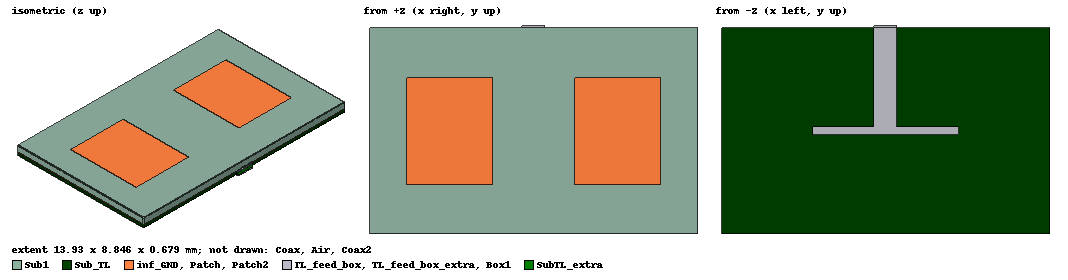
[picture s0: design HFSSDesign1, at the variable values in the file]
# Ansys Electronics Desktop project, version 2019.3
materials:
  vacuum: permittivity=1
  Rogers RT/duroid 5880 (tm): permittivity=2.2 dielectric_loss_tangent=0.0009
  pec: conductivity=1e+30
  Rogers RO4003 (tm): permittivity=3.55 dielectric_loss_tangent=0.0027

design HFSSDesign1 (HFSS, DrivenModal, model units mm)
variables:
  Lp = 3.64mm  # optimise 1.961496581mm..5.884489743mm
  Wp = 4.55mm  # optimise 2.538622579mm..7.615867737mm
  hs = 0.406mm
  Ws = Wp+6*hs+.88mm*2
  Ls = 6*hs+Lp*2+4.21mm
  xsub = -Ls/2
  ysub = -Ws/2
  xfeed = 1.2mm  # optimise 0.4620027115mm..1.3860081345mm
  dp = 3.5mm  # optimise 0.19101913mm..0.57305739mm
  rcoax = 0.16mm
  hcoax = 0.203mm
  rprope = 0.07mm
  Lair = 0.01+Ls
  Wair = 0.01+Ws
  xair = Lair/2
  yair = Wair/2
  hair = 5mm
  yfeed = 0mm
  xp = dp/2
  yp = -Wp/2
  hgnd = -0.032mm
  Xcoax = 2
  WTL_In = 0.673367mm
  LTL_feed = 2.179581mm
  WTL_feed = 0.976256mm
  hTL = 0.07mm
  LTL_extra = 0.1mm
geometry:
  Sub1 [Rogers RO4003 (tm)] = box(corner=(xsub, ysub, 0mm), size=(Ls, Ws, hs))
  Patch [Rogers RT/duroid 5880 (tm)] = rectangle(corner=(xp, yp, hs), x_size=Lp, y_size=Wp)
  Coax [vacuum] = cylinder(axis=Z, base_centre=(xp+xfeed, yfeed, 0mm), radius=rcoax, height=-hcoax)
  Coax_Pin [pec] = cylinder(axis=Z, base_centre=(xp+xfeed, yfeed, 0mm), radius=rprope, height=-hcoax)
  Prope [pec] = cylinder(axis=Z, base_centre=(xp+xfeed, yfeed, 0mm), radius=rprope, height=hs)
  Air [vacuum] = box(corner=(-xair, -yair, 0), size=(Lair, Wair, hair +0.3mm))
  Patch2 = rectangle(corner=(xp-Lp-dp, yp, hs), x_size=Lp, y_size=Wp)
  Coax2 [vacuum] = cylinder(axis=Z, base_centre=(-(xp+xfeed), yfeed, 0mm), radius=rcoax, height=-hcoax)
  Coax_Pin2 [pec] = cylinder(axis=Z, base_centre=(-(xp+xfeed), yfeed, 0mm), radius=rprope, height=-hcoax)
  Prope2 [pec] = cylinder(axis=Z, base_centre=(-(xp+xfeed), yfeed, 0mm), radius=rprope, height=hs)
  inf_GND [pec] = box(corner=(xsub, ysub, 0mm), size=(Ls, Ws, hgnd))
  Cylinder_cut_2 = cylinder(axis=Z, base_centre=(-(xp+xfeed), yfeed, 0), radius=rcoax, height=hgnd)
  Cylinder_cut_1 = cylinder(axis=Z, base_centre=(xp+xfeed, yfeed, 0), radius=rcoax, height=hgnd)
  inf_GND.subtract(Cylinder_cut_1)
  inf_GND.subtract(Cylinder_cut_2)
  Sub_TL [Rogers RO4003 (tm)] = box(corner=(xsub, ysub, 0mm), size=(Ls, Ws, -hcoax))
  TL_In_box = box(corner=(xfeed+xp+rcoax, yfeed -rcoax, -hcoax), size=(-2*(xfeed+xp+rcoax), Xcoax * rcoax, -hTL))
  TL_feed_box [pec] = box(corner=(-WTL_feed/2, yfeed -rcoax+Xcoax * rcoax, -hcoax), size=(WTL_feed, ysub+Ws-(yfeed -rcoax+Xcoax * rcoax), -hTL))
  TL_feed_box.unite(TL_In_box)
  SubTL_extra [Rogers RO4003 (tm)] = box(corner=(-WTL_feed/2, yfeed -rcoax+Xcoax * rcoax+(ysub+Ws-(yfeed -rcoax+Xcoax * rcoax)), -hcoax), size=(WTL_feed, LTL_extra, hcoax+hgnd))
  TL_feed_box_extra [pec] = box(corner=(-WTL_feed/2, yfeed -rcoax+Xcoax * rcoax+(ysub+Ws-(yfeed -rcoax+Xcoax * rcoax)), -hcoax), size=(WTL_feed, LTL_extra, -hTL))
  Box1 [pec] = box(corner=(-WTL_feed/2, yfeed -rcoax+Xcoax * rcoax+(ysub+Ws-(yfeed -rcoax+Xcoax * rcoax)), 0), size=(WTL_feed, LTL_extra, hgnd))
  group Input_feed1 = Coax, Coax_Pin, Prope
  group Input_feed2 = Coax2, Coax_Pin2, Prope2
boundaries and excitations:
  PerfE_Patch: Perfect E Objects=Patch
  Rad1: Radiation Faces=Air.face(+x, +y, -y, -x, +z)
  PerfE1: Perfect E Objects=Patch2
  reference conductors: inf_GND
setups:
  Setup1: HfssDriven Frequency=20GHz MaxDeltaE=0.1 MaximumPasses=18 MinimumPasses=1 MinimumConvergedPasses=1 PercentRefinement=30 BasisOrder=1
    sweep Sweep: 18GHz to 22GHz step 0.1GHz; Type=Fast SaveFields SaveRadFields GenerateFieldsForAllFreqs
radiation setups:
  e_plane: Infinite Sphere Theta=-180deg..180deg step 2deg Phi=0deg..0deg step 1deg
  h_plane: Infinite Sphere Theta=-180deg..180deg step 2deg Phi=90deg..90deg step 1deg
  3d: Infinite Sphere Theta=-180deg..180deg step 2deg Phi=0deg..360deg step 2deg
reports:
  Eradation_pattern: abs(rETotal) vs Theta on Setup1 : LastAdaptive, e_plane [Phi=all Freq=20GHz]
  Hradation_pattern: abs(rETotal) vs Theta on Setup1 : LastAdaptive, h_plane [Phi=all Freq=20GHz]
  Co_X_graph: dB10normalize(GainPhi), dB10normalize(GainTheta) vs Theta on Setup1 : LastAdaptive, e_plane [Phi=0deg Freq=20GHz]
  Port Zo Plot 1: mag(Zo(1)) vs Freq on Setup1 : Sweep; markers MX1 at x=2.0003783e+10
  S Parameter Plot 1: dB(S(1,1)) vs Freq on Setup1 : Sweep; markers MX1 at x=1.9841695e+10, MX2 at x=2.0211817e+10
  Z Parameter Plot 1: mag(Z(1,1)) vs Freq on Setup1 : Sweep; markers MX1 at x=2.0003367e+10
  rE Plot 1: rETotal vs Phi, Theta on Setup1 : LastAdaptive, 3d [Freq=20GHz]
  Gain Plot 1: mag(GainTotal) vs Phi, Theta on Setup1 : LastAdaptive, 3d [Freq=20GHz]
  Gain Plot 2: mag(GainTotal) vs Phi, Theta on Setup1 : LastAdaptive, e_plane [Freq=20GHz]
  S Parameter Plot 2: dB(S(1,1)) vs Freq on Setup1 : Sweep
  S Parameter Plot 3: dB(S(1,1)) vs Freq on Setup1 : Sweep
  Z Parameter Plot 2: dB20(Z(1,1)) vs Freq on Setup1 : Sweep
  Z Parameter Plot 3: mag(Z(1,1)) vs Freq on Setup1 : Sweep; markers MX1 at x=2.0004181e+10
  S Parameter Plot 4: dB(S(1,1)) vs Freq on Setup1 : Sweep
  S Parameter Plot 5: dB(S(1,1)) vs Freq on Setup1 : Sweep [dp=all]
  S Parameter Plot 6: dB(S(1,1)) vs Freq on Setup1 : Sweep
  S Parameter Plot 7: dB(S(1,1)) vs Freq on Setup1 : Sweep
  S Parameter Plot 8: dB(S(1,1)) vs Freq on Setup1 : Sweep [Lp=all Wp=all dp=all]
  S Parameter Plot 9: dB(S(1,1)) vs Freq on Setup1 : Sweep [Lp=all Wp=all dp=all]
  S Parameter Plot 10: dB(S(1,1)) vs Freq on Setup1 : Sweep [Lp=all Wp=all dp=all]
  S Parameter Plot 11: dB(S(1,1)) vs Freq on Setup1 : Sweep
  Z Parameter Plot 4: dB20(Z(1,1)) vs Freq on Setup1 : Sweep
  Z Parameter Plot 5: mag(Z(1,1)) vs Freq on Setup1 : Sweep; markers MX1 at x=2.0006969e+10
  S Parameter Plot 12: dB(S(1,1)) vs Freq on Setup1 : Sweep
  S Parameter Plot 13: dB(S(1,1)) vs Freq on Setup1 : Sweep [dp=all]
